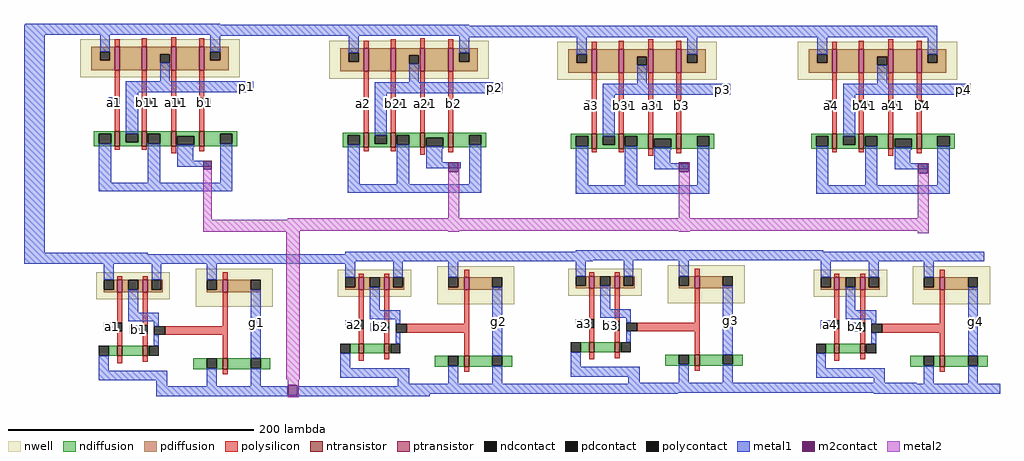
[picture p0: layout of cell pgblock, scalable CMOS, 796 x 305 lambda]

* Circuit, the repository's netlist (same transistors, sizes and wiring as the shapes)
* SPICE3 file created from pgblock.ext - technology: scmos
*Propagate and generate block*

.include TSMC_180nm.txt

.param SUPPLY=1.8
.param LAMBDA=0.09u
.param width_P={20*LAMBDA}
.param width_N={10*LAMBDA}
.global gnd vdd 

vdd vdd gnd 'SUPPLY'

* Inputs
vin cin gnd pulse (0 1.8 0 0.1n 0.1n 160n 320n)
* Input A
vin_a1 a1 gnd pulse (0 1.8 0 0.1n 0.1n 10n 20n) 
vin_a11 a11 gnd pulse (1.8 0 0 0.1n 0.1n 10n 20n) 
vin_a2 a2 gnd pulse (0 1.8 0 0.1n 0.1n 20n 40n) 
vin_a21 a21 gnd pulse (1.8 0 0 0.1n 0.1n 20n 40n) 
vin_a3 a3 gnd pulse (0 1.8 0 0.1n 0.1n 40n 80n) 
vin_a31 a31 gnd pulse (1.8 0 0 0.1n 0.1n 40n 80n) 
vin_a4 a4 gnd pulse (0 1.8 0 0.1n 0.1n 80n 160n) 
vin_a41 a41 gnd pulse (1.8 0 0 0.1n 0.1n 80n 160n) 

* Input B 
vin_b1 b1 gnd pulse (0 1.8 0 0.1n 0.1n 10n 20n) 
vin_b11 b11 gnd pulse (1.8 0 0 0.1n 0.1n 10n 20n)
vin_b2 b2 gnd pulse (0 1.8 0 0.1n 0.1n 20n 40n) 
vin_b21 b21 gnd pulse (1.8 0 0 0.1n 0.1n 20n 40n) 
vin_b3 b3 gnd pulse (0 1.8 0 0.1n 0.1n 40n 80n) 
vin_b31 b31 gnd pulse (1.8 0 0 0.1n 0.1n 40n 80n)
vin_b4 b4 gnd pulse (0 1.8 0 0.1n 0.1n 80n 160n) 
vin_b41 b41 gnd pulse (1.8 0 0 0.1n 0.1n 80n 160n) 
.option scale=0.09u

M1000 and_cla_0/vdd xor_cla_0/a_25_n47# xor_cla_0/a_6_19# xor_cla_0/w_n72_13# pfet w=19 l=4
+  ad=4404 pd=1144 as=361 ps=76
M1001 xor_cla_0/a_n61_n43# xor_cla_0/a_25_n47# and_cla_0/gnd Gnd nfet w=12 l=4
+  ad=768 pd=200 as=3516 ps=1048
M1002 xor_cla_0/a_n40_n43# xor_cla_0/a_n22_n46# xor_cla_0/a_n40_19# xor_cla_0/w_n72_13# pfet w=19 l=4
+  ad=380 pd=78 as=342 ps=74
M1003 xor_cla_0/a_n40_19# xor_cla_0/a_n49_n11# and_cla_0/vdd xor_cla_0/w_n72_13# pfet w=19 l=4
+  ad=0 pd=0 as=0 ps=0
M1004 xor_cla_0/a_6_19# xor_cla_0/a_2_n49# xor_cla_0/a_n40_n43# xor_cla_0/w_n72_13# pfet w=19 l=4
+  ad=0 pd=0 as=0 ps=0
M1005 xor_cla_0/a_n61_n43# xor_cla_0/a_n22_n46# xor_cla_0/a_n40_n43# Gnd nfet w=12 l=4
+  ad=0 pd=0 as=216 ps=60
M1006 and_cla_0/gnd xor_cla_0/a_2_n49# xor_cla_0/a_n61_n43# Gnd nfet w=12 l=4
+  ad=0 pd=0 as=0 ps=0
M1007 xor_cla_0/a_n40_n43# xor_cla_0/a_n49_n11# xor_cla_0/a_n61_n43# Gnd nfet w=12 l=4
+  ad=0 pd=0 as=0 ps=0
M1008 and_cla_0/vdd xor_cla_1/a_25_n47# xor_cla_1/a_6_19# xor_cla_1/w_n72_13# pfet w=19 l=4
+  ad=0 pd=0 as=361 ps=76
M1009 xor_cla_1/a_n61_n43# xor_cla_1/a_25_n47# and_cla_0/gnd Gnd nfet w=12 l=4
+  ad=768 pd=200 as=0 ps=0
M1010 xor_cla_1/a_n40_n43# xor_cla_1/a_n22_n46# xor_cla_1/a_n40_19# xor_cla_1/w_n72_13# pfet w=19 l=4
+  ad=380 pd=78 as=342 ps=74
M1011 xor_cla_1/a_n40_19# xor_cla_1/a_n49_n11# and_cla_0/vdd xor_cla_1/w_n72_13# pfet w=19 l=4
+  ad=0 pd=0 as=0 ps=0
M1012 xor_cla_1/a_6_19# xor_cla_1/a_2_n49# xor_cla_1/a_n40_n43# xor_cla_1/w_n72_13# pfet w=19 l=4
+  ad=0 pd=0 as=0 ps=0
M1013 xor_cla_1/a_n61_n43# xor_cla_1/a_n22_n46# xor_cla_1/a_n40_n43# Gnd nfet w=12 l=4
+  ad=0 pd=0 as=216 ps=60
M1014 and_cla_0/gnd xor_cla_1/a_2_n49# xor_cla_1/a_n61_n43# Gnd nfet w=12 l=4
+  ad=0 pd=0 as=0 ps=0
M1015 xor_cla_1/a_n40_n43# xor_cla_1/a_n49_n11# xor_cla_1/a_n61_n43# Gnd nfet w=12 l=4
+  ad=0 pd=0 as=0 ps=0
M1016 and_cla_0/vdd xor_cla_2/a_25_n47# xor_cla_2/a_6_19# xor_cla_2/w_n72_13# pfet w=19 l=4
+  ad=0 pd=0 as=361 ps=76
M1017 xor_cla_2/a_n61_n43# xor_cla_2/a_25_n47# and_cla_0/gnd Gnd nfet w=12 l=4
+  ad=768 pd=200 as=0 ps=0
M1018 xor_cla_2/a_n40_n43# xor_cla_2/a_n22_n46# xor_cla_2/a_n40_19# xor_cla_2/w_n72_13# pfet w=19 l=4
+  ad=380 pd=78 as=342 ps=74
M1019 xor_cla_2/a_n40_19# xor_cla_2/a_n49_n11# and_cla_0/vdd xor_cla_2/w_n72_13# pfet w=19 l=4
+  ad=0 pd=0 as=0 ps=0
M1020 xor_cla_2/a_6_19# xor_cla_2/a_2_n49# xor_cla_2/a_n40_n43# xor_cla_2/w_n72_13# pfet w=19 l=4
+  ad=0 pd=0 as=0 ps=0
M1021 xor_cla_2/a_n61_n43# xor_cla_2/a_n22_n46# xor_cla_2/a_n40_n43# Gnd nfet w=12 l=4
+  ad=0 pd=0 as=216 ps=60
M1022 and_cla_0/gnd xor_cla_2/a_2_n49# xor_cla_2/a_n61_n43# Gnd nfet w=12 l=4
+  ad=0 pd=0 as=0 ps=0
M1023 xor_cla_2/a_n40_n43# xor_cla_2/a_n49_n11# xor_cla_2/a_n61_n43# Gnd nfet w=12 l=4
+  ad=0 pd=0 as=0 ps=0
M1024 and_cla_0/vdd xor_cla_3/a_25_n47# xor_cla_3/a_6_19# xor_cla_3/w_n72_13# pfet w=19 l=4
+  ad=0 pd=0 as=361 ps=76
M1025 xor_cla_3/a_n61_n43# xor_cla_3/a_25_n47# and_cla_0/gnd Gnd nfet w=12 l=4
+  ad=768 pd=200 as=0 ps=0
M1026 xor_cla_3/a_n40_n43# xor_cla_3/a_n22_n46# xor_cla_3/a_n40_19# xor_cla_3/w_n72_13# pfet w=19 l=4
+  ad=380 pd=78 as=342 ps=74
M1027 xor_cla_3/a_n40_19# m1_n356_79# and_cla_0/vdd xor_cla_3/w_n72_13# pfet w=19 l=4
+  ad=0 pd=0 as=0 ps=0
M1028 xor_cla_3/a_6_19# xor_cla_3/a_2_n49# xor_cla_3/a_n40_n43# xor_cla_3/w_n72_13# pfet w=19 l=4
+  ad=0 pd=0 as=0 ps=0
M1029 xor_cla_3/a_n61_n43# xor_cla_3/a_n22_n46# xor_cla_3/a_n40_n43# Gnd nfet w=12 l=4
+  ad=0 pd=0 as=216 ps=60
M1030 and_cla_0/gnd xor_cla_3/a_2_n49# xor_cla_3/a_n61_n43# Gnd nfet w=12 l=4
+  ad=0 pd=0 as=0 ps=0
M1031 xor_cla_3/a_n40_n43# m1_n356_79# xor_cla_3/a_n61_n43# Gnd nfet w=12 l=4
+  ad=0 pd=0 as=0 ps=0
M1032 and_cla_0/gnd and_cla_0/a_n23_18# and_cla_0/vdd and_cla_0/w_37_6# pfet w=10 l=4
+  ad=1080 pd=296 as=0 ps=0
M1033 and_cla_0/a_n23_18# and_cla_0/a_n9_n16# and_cla_0/a_n23_n34# Gnd nfet w=8 l=4
+  ad=72 pd=34 as=136 ps=50
M1034 and_cla_0/a_n23_18# and_cla_0/a_n30_n14# and_cla_0/vdd and_cla_0/w_n44_12# pfet w=10 l=4
+  ad=170 pd=54 as=0 ps=0
** SOURCE/DRAIN TIED
M1035 and_cla_0/gnd and_cla_0/a_n23_18# and_cla_0/gnd Gnd nfet w=9 l=4
+  ad=0 pd=0 as=0 ps=0
M1036 and_cla_0/vdd and_cla_0/a_n9_n16# and_cla_0/a_n23_18# and_cla_0/w_n44_12# pfet w=10 l=4
+  ad=0 pd=0 as=0 ps=0
M1037 and_cla_0/a_n23_n34# and_cla_0/a_n30_n14# and_cla_0/gnd Gnd nfet w=8 l=4
+  ad=0 pd=0 as=0 ps=0
M1038 and_cla_0/gnd and_cla_1/a_n23_18# and_cla_0/vdd and_cla_1/w_37_6# pfet w=10 l=4
+  ad=0 pd=0 as=0 ps=0
M1039 and_cla_1/a_n23_18# and_cla_1/a_n9_n16# and_cla_1/a_n23_n34# Gnd nfet w=8 l=4
+  ad=72 pd=34 as=136 ps=50
M1040 and_cla_1/a_n23_18# and_cla_1/a_n30_n14# and_cla_0/vdd and_cla_1/w_n44_12# pfet w=10 l=4
+  ad=170 pd=54 as=0 ps=0
** SOURCE/DRAIN TIED
M1041 and_cla_0/gnd and_cla_1/a_n23_18# and_cla_0/gnd Gnd nfet w=9 l=4
+  ad=0 pd=0 as=0 ps=0
M1042 and_cla_0/vdd and_cla_1/a_n9_n16# and_cla_1/a_n23_18# and_cla_1/w_n44_12# pfet w=10 l=4
+  ad=0 pd=0 as=0 ps=0
M1043 and_cla_1/a_n23_n34# and_cla_1/a_n30_n14# and_cla_0/gnd Gnd nfet w=8 l=4
+  ad=0 pd=0 as=0 ps=0
M1044 and_cla_0/gnd and_cla_3/a_n23_18# and_cla_0/vdd and_cla_3/w_37_6# pfet w=10 l=4
+  ad=0 pd=0 as=0 ps=0
M1045 and_cla_3/a_n23_18# and_cla_3/a_n9_n16# and_cla_3/a_n23_n34# Gnd nfet w=8 l=4
+  ad=72 pd=34 as=136 ps=50
M1046 and_cla_3/a_n23_18# and_cla_3/a_n30_n14# and_cla_0/vdd and_cla_3/w_n44_12# pfet w=10 l=4
+  ad=170 pd=54 as=0 ps=0
** SOURCE/DRAIN TIED
M1047 and_cla_0/gnd and_cla_3/a_n23_18# and_cla_0/gnd Gnd nfet w=9 l=4
+  ad=0 pd=0 as=0 ps=0
M1048 and_cla_0/vdd and_cla_3/a_n9_n16# and_cla_3/a_n23_18# and_cla_3/w_n44_12# pfet w=10 l=4
+  ad=0 pd=0 as=0 ps=0
M1049 and_cla_3/a_n23_n34# and_cla_3/a_n30_n14# and_cla_0/gnd Gnd nfet w=8 l=4
+  ad=0 pd=0 as=0 ps=0
M1050 and_cla_0/gnd and_cla_2/a_n23_18# and_cla_0/vdd and_cla_2/w_37_6# pfet w=10 l=4
+  ad=0 pd=0 as=0 ps=0
M1051 and_cla_2/a_n23_18# and_cla_2/a_n9_n16# and_cla_2/a_n23_n34# Gnd nfet w=8 l=4
+  ad=72 pd=34 as=136 ps=50
M1052 and_cla_2/a_n23_18# and_cla_2/a_n30_n14# and_cla_0/vdd and_cla_2/w_n44_12# pfet w=10 l=4
+  ad=170 pd=54 as=0 ps=0
** SOURCE/DRAIN TIED
M1053 and_cla_0/gnd and_cla_2/a_n23_18# and_cla_0/gnd Gnd nfet w=9 l=4
+  ad=0 pd=0 as=0 ps=0
M1054 and_cla_0/vdd and_cla_2/a_n9_n16# and_cla_2/a_n23_18# and_cla_2/w_n44_12# pfet w=10 l=4
+  ad=0 pd=0 as=0 ps=0
M1055 and_cla_2/a_n23_n34# and_cla_2/a_n30_n14# and_cla_0/gnd Gnd nfet w=8 l=4
+  ad=0 pd=0 as=0 ps=0

* Output
.control 
tran 1n 200n 
run 
plot v(p1) v(g1)
plot v(p2) v(g2)
plot v(p3) v(g3)
plot v(p4) v(g4)
set curplottitle= "Srujana Vanka - 2020102005 - PGblock"
.endc
.end

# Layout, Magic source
magic
tech scmos
<< metal1 >>
rect -424 146 -326 147
rect -425 138 -326 146
rect -425 -40 -408 138
rect -265 137 -125 146
rect -65 136 11 145
rect 122 136 198 145
rect -356 79 -348 87
rect -425 -49 -324 -40
rect -235 -49 -162 -41
rect -34 -47 39 -39
rect 154 -46 227 -38
rect -224 -156 -210 -149
rect -202 -156 -94 -149
rect -24 -155 108 -147
rect 161 -154 303 -146
rect -224 -157 -94 -156
<< m2contact >>
rect -279 28 -272 35
rect -79 26 -71 34
rect 109 26 117 34
rect 304 25 312 33
rect -210 -156 -202 -148
<< metal2 >>
rect -279 -13 -272 28
rect -71 26 -70 34
rect -79 -12 -70 26
rect 117 26 118 34
rect 109 -12 118 26
rect 312 25 313 33
rect 304 -12 313 25
rect -210 -13 313 -12
rect -279 -22 313 -13
rect -279 -23 -200 -22
rect -79 -23 -70 -22
rect 109 -23 118 -22
rect -211 -143 -200 -23
rect 304 -24 313 -22
rect -210 -148 -201 -143
rect -202 -156 -201 -148
rect -210 -158 -201 -156
use xor_cla  xor_cla_3
transform 1 0 -307 0 1 90
box -81 -80 69 57
use xor_cla  xor_cla_2
transform 1 0 -104 0 1 89
box -81 -80 69 57
use xor_cla  xor_cla_0
transform 1 0 82 0 1 88
box -81 -80 69 57
use xor_cla  xor_cla_1
transform 1 0 278 0 1 88
box -81 -80 69 57
use and_cla  and_cla_0
transform 1 0 -322 0 1 -90
box -44 -67 108 49
use and_cla  and_cla_1
transform 1 0 -125 0 1 -88
box -44 -67 108 49
use and_cla  and_cla_2
transform 1 0 63 0 1 -87
box -44 -67 108 49
use and_cla  and_cla_3
transform 1 0 263 0 1 -88
box -44 -67 108 49
<< labels >>
rlabel space -356 79 -347 86 1 a1
rlabel space -329 79 -320 86 1 b11
rlabel space -305 79 -296 86 1 a11
rlabel space -282 79 -273 86 1 b1
rlabel space -249 91 -238 100 1 p1
rlabel space -153 78 -144 85 1 a2
rlabel space -126 78 -117 85 1 b21
rlabel space -102 78 -93 85 1 a21
rlabel space -79 78 -70 85 1 b2
rlabel space 33 77 42 84 1 a3
rlabel space 60 77 69 84 1 b31
rlabel space 84 77 93 84 1 a31
rlabel space 107 77 116 84 1 b3
rlabel space 229 77 238 84 1 a4
rlabel space 256 77 265 84 1 b41
rlabel space 280 77 289 84 1 a41
rlabel space 303 77 312 84 1 b4
rlabel space 139 89 151 98 1 p3
rlabel space 335 89 347 98 1 p4
rlabel space -47 90 -35 99 1 p2
rlabel space -360 -104 -345 -97 1 a1
rlabel space -339 -106 -324 -99 1 b1
rlabel space -163 -102 -148 -95 1 a2
rlabel space -142 -104 -127 -97 1 b2
rlabel space 25 -101 40 -94 1 a3
rlabel space 46 -103 61 -96 1 b3
rlabel space 225 -102 240 -95 1 a4
rlabel space 246 -104 261 -97 1 b4
rlabel space -235 -97 -235 -97 1 g1
rlabel space -38 -96 -38 -96 1 g2
rlabel space 151 -95 151 -95 1 g3
rlabel space 351 -96 351 -96 1 g4
<< end >>

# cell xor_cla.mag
magic
tech scmos
<< nwell >>
rect -72 13 58 44
<< polysilicon >>
rect -44 38 -40 44
rect -22 38 -18 45
rect 2 38 6 46
rect 25 38 29 45
rect -44 -4 -40 19
rect -44 -31 -40 -11
rect -22 -4 -18 19
rect 2 -4 6 19
rect 25 -4 29 19
rect -22 -31 -18 -11
rect 2 -31 6 -11
rect 25 -31 29 -11
rect -44 -46 -40 -43
rect -22 -46 -18 -43
rect 2 -49 6 -43
rect 25 -47 29 -43
<< ndiffusion >>
rect -61 -33 -44 -31
rect -61 -41 -57 -33
rect -47 -41 -44 -33
rect -61 -43 -44 -41
rect -40 -33 -22 -31
rect -40 -40 -35 -33
rect -25 -40 -22 -33
rect -40 -43 -22 -40
rect -18 -33 2 -31
rect -18 -41 -17 -33
rect -7 -41 2 -33
rect -18 -43 2 -41
rect 6 -35 25 -31
rect 6 -42 7 -35
rect 21 -42 25 -35
rect 6 -43 25 -42
rect 29 -33 56 -31
rect 29 -41 42 -33
rect 52 -41 56 -33
rect 29 -43 56 -41
<< pdiffusion >>
rect -63 34 -44 38
rect -63 27 -56 34
rect -48 27 -44 34
rect -63 19 -44 27
rect -40 19 -22 38
rect -18 32 2 38
rect -18 25 -7 32
rect 1 25 2 32
rect -18 19 2 25
rect 6 19 25 38
rect 29 34 49 38
rect 29 27 34 34
rect 42 27 49 34
rect 29 19 49 27
<< metal1 >>
rect -81 48 42 57
rect -56 34 -48 48
rect 34 34 42 48
rect -7 10 1 25
rect -35 1 69 10
rect -35 -33 -25 1
rect -57 -73 -47 -41
rect -17 -73 -7 -41
rect 7 -44 21 -42
rect 7 -55 20 -44
rect 7 -60 35 -55
rect 42 -73 52 -41
rect -57 -80 52 -73
<< ntransistor >>
rect -44 -43 -40 -31
rect -22 -43 -18 -31
rect 2 -43 6 -31
rect 25 -43 29 -31
<< ptransistor >>
rect -44 19 -40 38
rect -22 19 -18 38
rect 2 19 6 38
rect 25 19 29 38
<< polycontact >>
rect -49 -11 -40 -4
rect -22 -11 -13 -4
rect 2 -11 11 -4
rect 25 -11 34 -4
<< ndcontact >>
rect -57 -41 -47 -33
rect -35 -40 -25 -33
rect -17 -41 -7 -33
rect 7 -42 21 -35
rect 42 -41 52 -33
<< pdcontact >>
rect -56 27 -48 34
rect -7 25 1 32
rect 34 27 42 34
<< labels >>
rlabel metal1 -20 52 -19 52 5 vdd
rlabel metal1 29 -57 29 -57 1 gnd
<< end >>

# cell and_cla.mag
magic
tech scmos
<< nwell >>
rect -44 12 16 34
rect 37 6 100 37
<< polysilicon >>
rect -27 28 -23 31
rect -6 28 -2 31
rect 59 28 63 34
rect -27 -7 -23 18
rect -6 -9 -2 18
rect -27 -26 -23 -14
rect 59 -10 63 18
rect -6 -26 -2 -16
rect 12 -17 63 -10
rect -27 -40 -23 -34
rect -6 -39 -2 -34
rect 59 -36 63 -17
rect 59 -49 63 -45
<< ndiffusion >>
rect -34 -34 -27 -26
rect -23 -34 -6 -26
rect -2 -34 -1 -26
rect 35 -44 46 -36
rect 54 -44 59 -36
rect 35 -45 59 -44
rect 63 -44 82 -36
rect 90 -44 98 -36
rect 63 -45 98 -44
<< pdiffusion >>
rect -30 20 -27 28
rect -38 18 -27 20
rect -23 20 -18 28
rect -10 20 -6 28
rect -23 18 -6 20
rect -2 20 1 28
rect 9 20 10 28
rect -2 18 10 20
rect 54 20 59 28
rect 46 18 59 20
rect 63 20 82 28
rect 63 18 90 20
<< metal1 >>
rect -38 41 95 49
rect -38 28 -30 41
rect 1 28 9 41
rect 46 28 54 41
rect -18 1 -10 20
rect -18 -6 7 1
rect -38 -14 -30 -7
rect -17 -16 -9 -9
rect 3 -10 7 -6
rect 3 -26 7 -17
rect -42 -46 -34 -34
rect 82 -36 90 20
rect -42 -54 14 -46
rect 5 -59 14 -54
rect 46 -59 54 -44
rect 82 -59 90 -44
rect 5 -67 108 -59
<< ntransistor >>
rect -27 -34 -23 -26
rect -6 -34 -2 -26
rect 59 -45 63 -36
<< ptransistor >>
rect -27 18 -23 28
rect -6 18 -2 28
rect 59 18 63 28
<< polycontact >>
rect -30 -14 -23 -7
rect -9 -16 -2 -9
rect 3 -17 12 -10
<< ndcontact >>
rect -42 -34 -34 -26
rect -1 -34 7 -26
rect 46 -44 54 -36
rect 82 -44 90 -36
<< pdcontact >>
rect -38 20 -30 28
rect -18 20 -10 28
rect 1 20 9 28
rect 46 20 54 28
rect 82 20 90 28
<< labels >>
rlabel metal1 23 45 23 45 5 vdd
rlabel metal1 24 -63 24 -63 1 gnd
<< end >>
